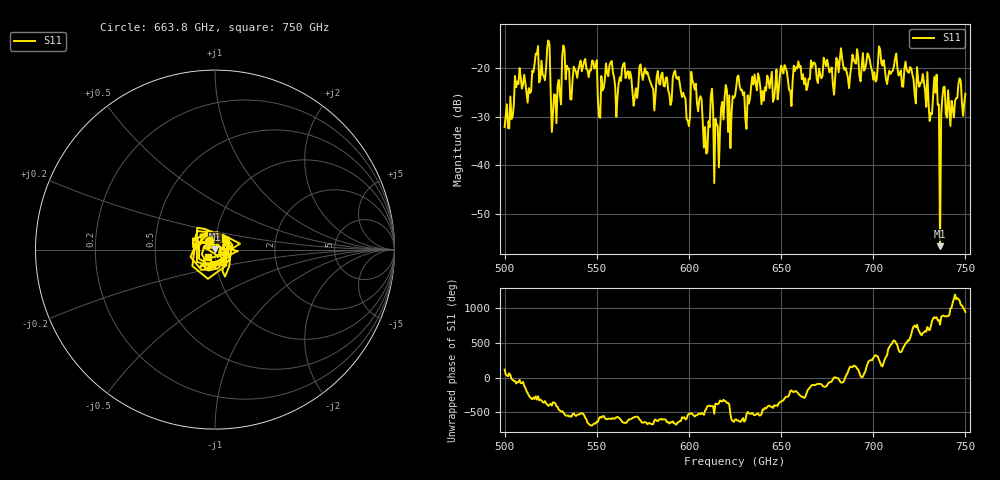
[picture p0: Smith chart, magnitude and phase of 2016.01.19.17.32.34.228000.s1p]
!Created with skrf (http://scikit-rf.org).
# GHz S RI R 50.0
!freq ReS11 ImS11
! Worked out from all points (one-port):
!   401 points, 500 GHz to 750 GHz, reference 50 ohm
!   lowest |S11| = -56.7 dB at 736.2 GHz (marker M1), VSWR 1.00, Z = 50.1 + j0.0997 ohm
!   |S11| at or under -10 dB: start of sweep to end of sweep
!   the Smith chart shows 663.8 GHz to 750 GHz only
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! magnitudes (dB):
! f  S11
! 500 GHz  -32.1
! 506.9 GHz  -22.7
! 513.1 GHz  -24.1
! 516.9 GHz  -17.0
! 523.8 GHz  -14.3
! 526.9 GHz  -25.4
! 531.2 GHz  -17.5
! 548.8 GHz  -20.1
! 551.9 GHz  -30.2
! 556.2 GHz  -21.7
! 562.5 GHz  -21.9
! 593.8 GHz  -22.2
! 599.4 GHz  -30.9
! 602.5 GHz  -23.3
! 608.8 GHz  -32.1
! 611.9 GHz  -25.8
! 615 GHz  -31.5
! 619.4 GHz  -25.8
! 622.5 GHz  -36.5
! 625 GHz  -25.7
! 656.2 GHz  -22.8
! 687.5 GHz  -21.3
! 718.8 GHz  -20.7
! 731.2 GHz  -29.2
! 734.4 GHz  -21.3
! 736.2 GHz  -56.7
! 738.1 GHz  -23.9
! 750 GHz  -25.3
